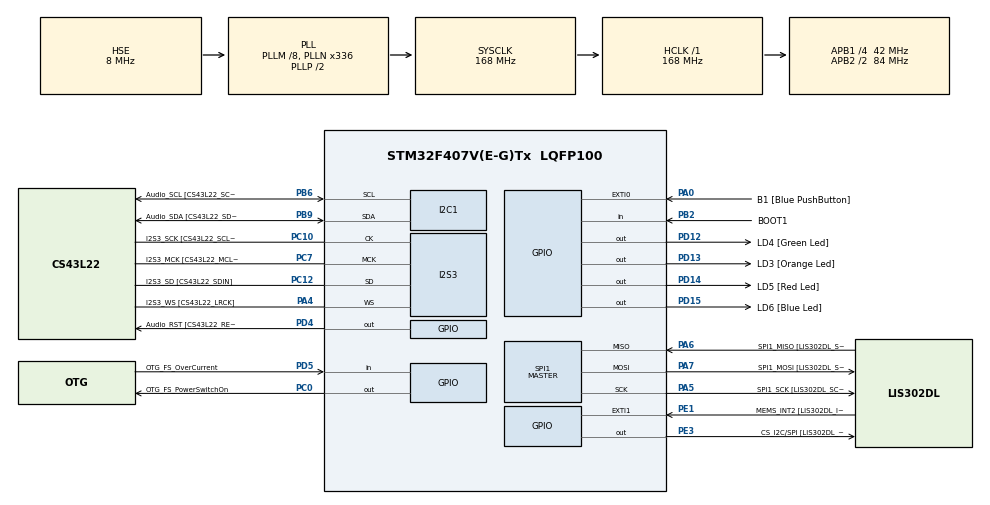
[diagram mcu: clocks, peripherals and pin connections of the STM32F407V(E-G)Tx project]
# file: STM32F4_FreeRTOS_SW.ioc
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FREERTOS.Tasks01=defaultTask,24,256,StartDefaultTask,Default,NULL,Dynamic,NULL,NULL;myGreenTask,24,256,StartGreenTask,Default,NULL,Dynamic,NULL,NULL;myBlueTask,24,256,StartBlueTask,Default,NULL,Dynamic,NULL,NULL
FREERTOS.configMINIMAL_STACK_SIZE=256
I2S3.AudioFreq-Half_Duplex_Master=I2S_AUDIOFREQ_96K
I2S3.ErrorAudioFreq=-2.34 %
I2S3.ErrorAudioFreq-Half_Duplex_Master=0.8 %
I2S3.FullDuplexMode=I2S_FULLDUPLEXMODE_DISABLE
I2S3.Instance=SPI$Index
I2S3.RealAudioFreq=93.75 KHz
I2S3.RealAudioFreq-Half_Duplex_Master=96.774 KHz
I2S3.VirtualMode=I2S_MODE_MASTER
Mcu.Family=STM32F4
Mcu.Name=STM32F407V(E-G)Tx
Mcu.Package=LQFP100
NVIC.PriorityGroup=NVIC_PRIORITYGROUP_4
NVIC.TIM5_IRQn=true\:5\:0\:false\:false\:true\:true\:true\:true\:true
NVIC.TIM6_DAC_IRQn=true\:15\:0\:false\:false\:true\:false\:false\:true\:true
NVIC.TimeBase=TIM6_DAC_IRQn
NVIC.TimeBaseIP=TIM6
PA0-WKUP.GPIO_Label=B1 [Blue PushButton]
PA0-WKUP.GPIO_ModeDefaultEXTI=GPIO_MODE_EVT_RISING
PA0-WKUP.GPIO_PuPd=GPIO_NOPULL
PA0-WKUP.Signal=GPXTI0
PA10.GPIO_Label=OTG_FS_ID
PA10.GPIO_Mode=GPIO_MODE_AF_PP
PA10.GPIO_PuPd=GPIO_NOPULL
PA10.GPIO_Speed=GPIO_SPEED_FREQ_LOW
PA10.Signal=USB_OTG_FS_ID
PA11.GPIO_Label=OTG_FS_DM
PA11.GPIO_Mode=GPIO_MODE_AF_PP
PA11.GPIO_PuPd=GPIO_NOPULL
PA11.GPIO_Speed=GPIO_SPEED_FREQ_LOW
PA11.Signal=USB_OTG_FS_DM
PA12.GPIO_Label=OTG_FS_DP
PA12.GPIO_Mode=GPIO_MODE_AF_PP
PA12.GPIO_PuPd=GPIO_NOPULL
PA12.GPIO_Speed=GPIO_SPEED_FREQ_LOW
PA12.Signal=USB_OTG_FS_DP
PA13.GPIO_Label=SWDIO
PA13.Mode=Serial_Wire
PA13.Signal=SYS_JTMS-SWDIO
PA14.GPIO_Label=SWCLK
PA14.Mode=Serial_Wire
PA14.Signal=SYS_JTCK-SWCLK
PA4.GPIO_Label=I2S3_WS [CS43L22_LRCK]
PA4.GPIO_Mode=GPIO_MODE_AF_PP
PA4.GPIO_PuPd=GPIO_NOPULL
PA4.GPIO_Speed=GPIO_SPEED_FREQ_LOW
PA4.Mode=Half_Duplex_Master
PA4.Signal=I2S3_WS
PA5.GPIO_Label=SPI1_SCK [LIS302DL_SCL/SPC]
PA5.GPIO_Mode=GPIO_MODE_AF_PP
PA5.GPIO_PuPd=GPIO_NOPULL
PA5.GPIO_Speed=GPIO_SPEED_FREQ_LOW
PA5.Mode=Full_Duplex_Master
PA5.Signal=SPI1_SCK
PA6.GPIO_Label=SPI1_MISO [LIS302DL_SDO]
PA6.GPIO_Mode=GPIO_MODE_AF_PP
PA6.GPIO_PuPd=GPIO_NOPULL
PA6.GPIO_Speed=GPIO_SPEED_FREQ_LOW
PA6.Mode=Full_Duplex_Master
PA6.Signal=SPI1_MISO
PA7.GPIO_Label=SPI1_MOSI [LIS302DL_SDA/SDI/SDO]
PA7.GPIO_Mode=GPIO_MODE_AF_PP
PA7.GPIO_PuPd=GPIO_NOPULL
PA7.GPIO_Speed=GPIO_SPEED_FREQ_LOW
PA7.Mode=Full_Duplex_Master
PA7.Signal=SPI1_MOSI
PA9.GPIO_Label=VBUS_FS
PA9.GPIO_Mode=GPIO_MODE_INPUT
PA9.GPIO_PuPd=GPIO_NOPULL
PA9.Signal=USB_OTG_FS_VBUS
PB10.GPIO_Label=CLK_IN [MP45DT02_CLK]
PB10.GPIO_Mode=GPIO_MODE_AF_PP
PB10.GPIO_PuPd=GPIO_NOPULL
PB10.GPIO_Speed=GPIO_SPEED_FREQ_LOW
PB10.Signal=I2S2_CK
PB2.GPIO_Label=BOOT1
PB2.GPIO_Mode=GPIO_MODE_INPUT
PB2.GPIO_PuPd=GPIO_NOPULL
PB2.Signal=GPIO_Input
PB3.GPIO_Label=SWO
PB3.Signal=SYS_JTDO-SWO
PB6.GPIO_Label=Audio_SCL [CS43L22_SCL]
PB6.GPIO_Mode=GPIO_MODE_AF_OD
PB6.GPIO_Pu=GPIO_PULLUP
PB6.GPIO_PuPd=GPIO_NOPULL
PB6.GPIO_Speed=GPIO_SPEED_FREQ_LOW
PB6.Mode=I2C
PB6.Signal=I2C1_SCL
PB9.GPIO_Label=Audio_SDA [CS43L22_SDA]
PB9.GPIO_Mode=GPIO_MODE_AF_OD
PB9.GPIO_Pu=GPIO_PULLUP
PB9.GPIO_PuPd=GPIO_NOPULL
PB9.GPIO_Speed=GPIO_SPEED_FREQ_LOW
PB9.Mode=I2C
PB9.Signal=I2C1_SDA
PC0.GPIO_Label=OTG_FS_PowerSwitchOn
PC0.GPIO_PuPd=GPIO_NOPULL
PC0.GPIO_Speed=GPIO_SPEED_FREQ_LOW
PC0.PinState=GPIO_PIN_SET
PC0.Signal=GPIO_Output
PC10.GPIO_Label=I2S3_SCK [CS43L22_SCLK]
PC10.GPIO_Mode=GPIO_MODE_AF_PP
PC10.GPIO_PuPd=GPIO_NOPULL
PC10.GPIO_Speed=GPIO_SPEED_FREQ_LOW
PC10.Mode=Half_Duplex_Master
PC10.Signal=I2S3_CK
PC12.GPIO_Label=I2S3_SD [CS43L22_SDIN]
PC12.GPIO_Mode=GPIO_MODE_AF_PP
PC12.GPIO_PuPd=GPIO_NOPULL
PC12.GPIO_Speed=GPIO_SPEED_FREQ_LOW
PC12.Mode=Half_Duplex_Master
PC12.Signal=I2S3_SD
PC14-OSC32_IN.GPIO_Label=PC14-OSC32_IN
PC14-OSC32_IN.Mode=LSE-External-Oscillator
PC14-OSC32_IN.Signal=RCC_OSC32_IN
PC15-OSC32_OUT.GPIO_Label=PC15-OSC32_OUT
PC15-OSC32_OUT.Mode=LSE-External-Oscillator
PC15-OSC32_OUT.Signal=RCC_OSC32_OUT
PC3.GPIO_Label=PDM_OUT [MP45DT02_DOUT]
PC3.GPIO_Mode=GPIO_MODE_AF_PP
PC3.GPIO_PuPd=GPIO_NOPULL
PC3.GPIO_Speed=GPIO_SPEED_FREQ_LOW
PC3.Signal=I2S2_SD
PC7.GPIO_Label=I2S3_MCK [CS43L22_MCLK]
PC7.GPIO_Mode=GPIO_MODE_AF_PP
PC7.GPIO_PuPd=GPIO_NOPULL
PC7.GPIO_Speed=GPIO_SPEED_FREQ_LOW
PC7.Mode=Master_Clock_Activated
PC7.Signal=I2S3_MCK
PD12.GPIO_Label=LD4 [Green Led]
PD12.GPIO_PuPd=GPIO_NOPULL
PD12.GPIO_Speed=GPIO_SPEED_FREQ_LOW
PD12.Signal=GPIO_Output
PD13.GPIO_Label=LD3 [Orange Led]
PD13.GPIO_PuPd=GPIO_NOPULL
PD13.GPIO_Speed=GPIO_SPEED_FREQ_LOW
PD13.Signal=GPIO_Output
PD14.GPIO_Label=LD5 [Red Led]
PD14.GPIO_PuPd=GPIO_NOPULL
PD14.GPIO_Speed=GPIO_SPEED_FREQ_LOW
PD14.Signal=GPIO_Output
PD15.GPIO_Label=LD6 [Blue Led]
PD15.GPIO_PuPd=GPIO_NOPULL
PD15.GPIO_Speed=GPIO_SPEED_FREQ_LOW
PD15.Signal=GPIO_Output
PD4.GPIO_Label=Audio_RST [CS43L22_RESET]
PD4.GPIO_PuPd=GPIO_NOPULL
PD4.GPIO_Speed=GPIO_SPEED_FREQ_LOW
PD4.Signal=GPIO_Output
PD5.GPIO_Label=OTG_FS_OverCurrent
PD5.GPIO_Mode=GPIO_MODE_INPUT
PD5.GPIO_PuPd=GPIO_NOPULL
PD5.Signal=GPIO_Input
PE1.GPIO_Label=MEMS_INT2 [LIS302DL_INT2]
PE1.GPIO_ModeDefaultEXTI=GPIO_MODE_EVT_RISING
PE1.GPIO_PuPd=GPIO_NOPULL
PE1.Signal=GPXTI1
PE3.GPIO_Label=CS_I2C/SPI [LIS302DL_CS_I2C/SPI]
PE3.GPIO_PuPd=GPIO_NOPULL
PE3.GPIO_Speed=GPIO_SPEED_FREQ_LOW
PE3.Signal=GPIO_Output
PH0-OSC_IN.GPIO_Label=PH0-OSC_IN
PH0-OSC_IN.Mode=HSE-External-Oscillator
PH0-OSC_IN.Signal=RCC_OSC_IN
PH1-OSC_OUT.GPIO_Label=PH1-OSC_OUT
PH1-OSC_OUT.Mode=HSE-External-Oscillator
PH1-OSC_OUT.Signal=RCC_OSC_OUT
ProjectManager.HeapSize=0x200
ProjectManager.StackSize=0x400
ProjectManager.TargetToolchain=STM32CubeIDE
RCC.48MHZClocksFreq_Value=48000000
RCC.AHBFreq_Value=168000000
RCC.APB1CLKDivider=RCC_HCLK_DIV4
RCC.APB1Freq_Value=42000000
RCC.APB1TimFreq_Value=84000000
RCC.APB2CLKDivider=RCC_HCLK_DIV2
RCC.APB2Freq_Value=84000000
RCC.APB2TimFreq_Value=168000000
RCC.CortexFreq_Value=168000000
RCC.HCLKFreq_Value=168000000
RCC.HSE_VALUE=8000000
RCC.HSI_VALUE=16000000
RCC.PLLM=8
RCC.PLLN=336
RCC.PLLQ=7
RCC.PLLSourceVirtual=RCC_PLLSOURCE_HSE
RCC.SYSCLKFreq_VALUE=168000000
RCC.SYSCLKSource=RCC_SYSCLKSOURCE_PLLCLK
RCC.VCOOutputFreq_Value=336000000
SPI1.BaudRatePrescaler-Full_Duplex_Master=SPI_BAUDRATEPRESCALER_2
SPI1.CalculateBaudRate-Full_Duplex_Master=42.0 MBits/s
SPI1.Direction=SPI_DIRECTION_2LINES
SPI1.Mode=SPI_MODE_MASTER
SPI1.Mode-Full_Duplex_Master=SPI_MODE_MASTER
SPI1.VirtualType=VM_MASTER
TIM5.AutoReloadPreload=TIM_AUTORELOAD_PRELOAD_ENABLE
TIM5.Period=9999
TIM5.Prescaler=8399
VP_FREERTOS_VS_CMSIS_V2.Mode=CMSIS_V2
VP_SYS_VS_tim6.Mode=TIM6
VP_TIM5_VS_ClockSourceINT.Mode=Internal
board=STM32F407G-DISC1

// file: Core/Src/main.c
/* USER CODE BEGIN Header */
/**
  ******************************************************************************
  * @file           : main.c
  * @brief          : Main program body
  ******************************************************************************
  * @attention
  *
  * Copyright (c) 2025 STMicroelectronics.
  * All rights reserved.
  *
  * This software is licensed under terms that can be found in the LICENSE file
  * in the root directory of this software component.
  * If no LICENSE file comes with this software, it is provided AS-IS.
  *
  ******************************************************************************
  */
/* USER CODE END Header */
#include "main.h"
#include "cmsis_os.h"

/* USER CODE BEGIN Includes */
#include <SEGGER_SYSVIEW.h>

/* USER CODE END Includes */

I2C_HandleTypeDef hi2c1;

I2S_HandleTypeDef hi2s3;

SPI_HandleTypeDef hspi1;

TIM_HandleTypeDef htim5;

/* Definitions for defaultTask */
osThreadId_t defaultTaskHandle;
const osThreadAttr_t defaultTask_attributes = {
  .name = "defaultTask",
  .stack_size = 256 * 4,
  .priority = (osPriority_t) osPriorityNormal,
};
/* Definitions for myGreenTask */
osThreadId_t myGreenTaskHandle;
const osThreadAttr_t myGreenTask_attributes = {
  .name = "myGreenTask",
  .stack_size = 256 * 4,
  .priority = (osPriority_t) osPriorityNormal,
};
/* Definitions for myBlueTask */
osThreadId_t myBlueTaskHandle;
const osThreadAttr_t myBlueTask_attributes = {
  .name = "myBlueTask",
  .stack_size = 256 * 4,
  .priority = (osPriority_t) osPriorityNormal,
};

void SystemClock_Config(void);
static void MX_GPIO_Init(void);
static void MX_I2C1_Init(void);
static void MX_I2S3_Init(void);
static void MX_SPI1_Init(void);
static void MX_TIM5_Init(void);
void StartDefaultTask(void *argument);
void StartGreenTask(void *argument);
void StartBlueTask(void *argument);

int main(void)
{

  /* MCU Configuration--------------------------------------------------------*/

  /* Reset of all peripherals, Initializes the Flash interface and the Systick. */
  HAL_Init();

  /* Configure the system clock */
  SystemClock_Config();

  /* Initialize all configured peripherals */
  MX_GPIO_Init();
  MX_I2C1_Init();
  MX_I2S3_Init();
  MX_SPI1_Init();
  MX_TIM5_Init();
  /* USER CODE BEGIN 2 */
  HAL_TIM_Base_Start_IT(&htim5);

  /* USER CODE END 2 */

  /* Init scheduler */
  osKernelInitialize();

  /* Create the thread(s) */
  /* creation of defaultTask */
  defaultTaskHandle = osThreadNew(StartDefaultTask, NULL, &defaultTask_attributes);

  /* creation of myGreenTask */
  myGreenTaskHandle = osThreadNew(StartGreenTask, NULL, &myGreenTask_attributes);

  /* creation of myBlueTask */
  myBlueTaskHandle = osThreadNew(StartBlueTask, NULL, &myBlueTask_attributes);

  /* USER CODE BEGIN RTOS_EVENTS */
  /* add events, ... */
  SEGGER_SYSVIEW_Conf();
  /* USER CODE END RTOS_EVENTS */

  /* Start scheduler */
  osKernelStart();

  /* We should never get here as control is now taken by the scheduler */

  /* Infinite loop */
  while (1)
  {

  }
}

void SystemClock_Config(void)
{
  RCC_OscInitTypeDef RCC_OscInitStruct = {0};
  RCC_ClkInitTypeDef RCC_ClkInitStruct = {0};

  /** Configure the main internal regulator output voltage
  */
  __HAL_RCC_PWR_CLK_ENABLE();
  __HAL_PWR_VOLTAGESCALING_CONFIG(PWR_REGULATOR_VOLTAGE_SCALE1);

  /** Initializes the RCC Oscillators according to the specified parameters
  * in the RCC_OscInitTypeDef structure.
  */
  RCC_OscInitStruct.OscillatorType = RCC_OSCILLATORTYPE_HSE;
  RCC_OscInitStruct.HSEState = RCC_HSE_ON;
  RCC_OscInitStruct.PLL.PLLState = RCC_PLL_ON;
  RCC_OscInitStruct.PLL.PLLSource = RCC_PLLSOURCE_HSE;
  RCC_OscInitStruct.PLL.PLLM = 8;
  RCC_OscInitStruct.PLL.PLLN = 336;
  RCC_OscInitStruct.PLL.PLLP = RCC_PLLP_DIV2;
  RCC_OscInitStruct.PLL.PLLQ = 7;
  if (HAL_RCC_OscConfig(&RCC_OscInitStruct) != HAL_OK)
  {
    Error_Handler();
  }

  /** Initializes the CPU, AHB and APB buses clocks
  */
  RCC_ClkInitStruct.ClockType = RCC_CLOCKTYPE_HCLK|RCC_CLOCKTYPE_SYSCLK
                              |RCC_CLOCKTYPE_PCLK1|RCC_CLOCKTYPE_PCLK2;
  RCC_ClkInitStruct.SYSCLKSource = RCC_SYSCLKSOURCE_PLLCLK;
  RCC_ClkInitStruct.AHBCLKDivider = RCC_SYSCLK_DIV1;
  RCC_ClkInitStruct.APB1CLKDivider = RCC_HCLK_DIV4;
  RCC_ClkInitStruct.APB2CLKDivider = RCC_HCLK_DIV2;

  if (HAL_RCC_ClockConfig(&RCC_ClkInitStruct, FLASH_LATENCY_5) != HAL_OK)
  {
    Error_Handler();
  }
}

static void MX_I2C1_Init(void)
{

  hi2c1.Instance = I2C1;
  hi2c1.Init.ClockSpeed = 100000;
  hi2c1.Init.DutyCycle = I2C_DUTYCYCLE_2;
  hi2c1.Init.OwnAddress1 = 0;
  hi2c1.Init.AddressingMode = I2C_ADDRESSINGMODE_7BIT;
  hi2c1.Init.DualAddressMode = I2C_DUALADDRESS_DISABLE;
  hi2c1.Init.OwnAddress2 = 0;
  hi2c1.Init.GeneralCallMode = I2C_GENERALCALL_DISABLE;
  hi2c1.Init.NoStretchMode = I2C_NOSTRETCH_DISABLE;
  if (HAL_I2C_Init(&hi2c1) != HAL_OK)
  {
    Error_Handler();
  }

}

static void MX_I2S3_Init(void)
{

  hi2s3.Instance = SPI3;
  hi2s3.Init.Mode = I2S_MODE_MASTER_TX;
  hi2s3.Init.Standard = I2S_STANDARD_PHILIPS;
  hi2s3.Init.DataFormat = I2S_DATAFORMAT_16B;
  hi2s3.Init.MCLKOutput = I2S_MCLKOUTPUT_ENABLE;
  hi2s3.Init.AudioFreq = I2S_AUDIOFREQ_96K;
  hi2s3.Init.CPOL = I2S_CPOL_LOW;
  hi2s3.Init.ClockSource = I2S_CLOCK_PLL;
  hi2s3.Init.FullDuplexMode = I2S_FULLDUPLEXMODE_DISABLE;
  if (HAL_I2S_Init(&hi2s3) != HAL_OK)
  {
    Error_Handler();
  }

}

static void MX_SPI1_Init(void)
{

  /* SPI1 parameter configuration*/
  hspi1.Instance = SPI1;
  hspi1.Init.Mode = SPI_MODE_MASTER;
  hspi1.Init.Direction = SPI_DIRECTION_2LINES;
  hspi1.Init.DataSize = SPI_DATASIZE_8BIT;
  hspi1.Init.CLKPolarity = SPI_POLARITY_LOW;
  hspi1.Init.CLKPhase = SPI_PHASE_1EDGE;
  hspi1.Init.NSS = SPI_NSS_SOFT;
  hspi1.Init.BaudRatePrescaler = SPI_BAUDRATEPRESCALER_2;
  hspi1.Init.FirstBit = SPI_FIRSTBIT_MSB;
  hspi1.Init.TIMode = SPI_TIMODE_DISABLE;
  hspi1.Init.CRCCalculation = SPI_CRCCALCULATION_DISABLE;
  hspi1.Init.CRCPolynomial = 10;
  if (HAL_SPI_Init(&hspi1) != HAL_OK)
  {
    Error_Handler();
  }

}

static void MX_TIM5_Init(void)
{

  TIM_ClockConfigTypeDef sClockSourceConfig = {0};
  TIM_MasterConfigTypeDef sMasterConfig = {0};

  htim5.Instance = TIM5;
  htim5.Init.Prescaler = 8399;
  htim5.Init.CounterMode = TIM_COUNTERMODE_UP;
  htim5.Init.Period = 9999;
  htim5.Init.ClockDivision = TIM_CLOCKDIVISION_DIV1;
  htim5.Init.AutoReloadPreload = TIM_AUTORELOAD_PRELOAD_ENABLE;
  if (HAL_TIM_Base_Init(&htim5) != HAL_OK)
  {
    Error_Handler();
  }
  sClockSourceConfig.ClockSource = TIM_CLOCKSOURCE_INTERNAL;
  if (HAL_TIM_ConfigClockSource(&htim5, &sClockSourceConfig) != HAL_OK)
  {
    Error_Handler();
  }
  sMasterConfig.MasterOutputTrigger = TIM_TRGO_RESET;
  sMasterConfig.MasterSlaveMode = TIM_MASTERSLAVEMODE_DISABLE;
  if (HAL_TIMEx_MasterConfigSynchronization(&htim5, &sMasterConfig) != HAL_OK)
  {
    Error_Handler();
  }

}

static void MX_GPIO_Init(void)
{
  GPIO_InitTypeDef GPIO_InitStruct = {0};

  /* GPIO Ports Clock Enable */
  __HAL_RCC_GPIOE_CLK_ENABLE();
  __HAL_RCC_GPIOC_CLK_ENABLE();
  __HAL_RCC_GPIOH_CLK_ENABLE();
  __HAL_RCC_GPIOA_CLK_ENABLE();
  __HAL_RCC_GPIOB_CLK_ENABLE();
  __HAL_RCC_GPIOD_CLK_ENABLE();

  /*Configure GPIO pin Output Level */
  HAL_GPIO_WritePin(CS_I2C_SPI_GPIO_Port, CS_I2C_SPI_Pin, GPIO_PIN_RESET);

  /*Configure GPIO pin Output Level */
  HAL_GPIO_WritePin(OTG_FS_PowerSwitchOn_GPIO_Port, OTG_FS_PowerSwitchOn_Pin, GPIO_PIN_SET);

  /*Configure GPIO pin Output Level */
  HAL_GPIO_WritePin(GPIOD, LD4_Pin|LD3_Pin|LD5_Pin|LD6_Pin
                          |Audio_RST_Pin, GPIO_PIN_RESET);

  /*Configure GPIO pin : CS_I2C_SPI_Pin */
  GPIO_InitStruct.Pin = CS_I2C_SPI_Pin;
  GPIO_InitStruct.Mode = GPIO_MODE_OUTPUT_PP;
  GPIO_InitStruct.Pull = GPIO_NOPULL;
  GPIO_InitStruct.Speed = GPIO_SPEED_FREQ_LOW;
  HAL_GPIO_Init(CS_I2C_SPI_GPIO_Port, &GPIO_InitStruct);

  /*Configure GPIO pin : OTG_FS_PowerSwitchOn_Pin */
  GPIO_InitStruct.Pin = OTG_FS_PowerSwitchOn_Pin;
  GPIO_InitStruct.Mode = GPIO_MODE_OUTPUT_PP;
  GPIO_InitStruct.Pull = GPIO_NOPULL;
  GPIO_InitStruct.Speed = GPIO_SPEED_FREQ_LOW;
  HAL_GPIO_Init(OTG_FS_PowerSwitchOn_GPIO_Port, &GPIO_InitStruct);

  /*Configure GPIO pin : PDM_OUT_Pin */
  GPIO_InitStruct.Pin = PDM_OUT_Pin;
  GPIO_InitStruct.Mode = GPIO_MODE_AF_PP;
  GPIO_InitStruct.Pull = GPIO_NOPULL;
  GPIO_InitStruct.Speed = GPIO_SPEED_FREQ_LOW;
  GPIO_InitStruct.Alternate = GPIO_AF5_SPI2;
  HAL_GPIO_Init(PDM_OUT_GPIO_Port, &GPIO_InitStruct);

  /*Configure GPIO pin : B1_Pin */
  GPIO_InitStruct.Pin = B1_Pin;
  GPIO_InitStruct.Mode = GPIO_MODE_EVT_RISING;
  GPIO_InitStruct.Pull = GPIO_NOPULL;
  HAL_GPIO_Init(B1_GPIO_Port, &GPIO_InitStruct);

  /*Configure GPIO pin : BOOT1_Pin */
  GPIO_InitStruct.Pin = BOOT1_Pin;
  GPIO_InitStruct.Mode = GPIO_MODE_INPUT;
  GPIO_InitStruct.Pull = GPIO_NOPULL;
  HAL_GPIO_Init(BOOT1_GPIO_Port, &GPIO_InitStruct);

  /*Configure GPIO pin : CLK_IN_Pin */
  GPIO_InitStruct.Pin = CLK_IN_Pin;
  GPIO_InitStruct.Mode = GPIO_MODE_AF_PP;
  GPIO_InitStruct.Pull = GPIO_NOPULL;
  GPIO_InitStruct.Speed = GPIO_SPEED_FREQ_LOW;
  GPIO_InitStruct.Alternate = GPIO_AF5_SPI2;
  HAL_GPIO_Init(CLK_IN_GPIO_Port, &GPIO_InitStruct);

  /*Configure GPIO pins : LD4_Pin LD3_Pin LD5_Pin LD6_Pin
                           Audio_RST_Pin */
  GPIO_InitStruct.Pin = LD4_Pin|LD3_Pin|LD5_Pin|LD6_Pin
                          |Audio_RST_Pin;
  GPIO_InitStruct.Mode = GPIO_MODE_OUTPUT_PP;
  GPIO_InitStruct.Pull = GPIO_NOPULL;
  GPIO_InitStruct.Speed = GPIO_SPEED_FREQ_LOW;
  HAL_GPIO_Init(GPIOD, &GPIO_InitStruct);

  /*Configure GPIO pin : VBUS_FS_Pin */
  GPIO_InitStruct.Pin = VBUS_FS_Pin;
  GPIO_InitStruct.Mode = GPIO_MODE_INPUT;
  GPIO_InitStruct.Pull = GPIO_NOPULL;
  HAL_GPIO_Init(VBUS_FS_GPIO_Port, &GPIO_InitStruct);

  /*Configure GPIO pins : OTG_FS_ID_Pin OTG_FS_DM_Pin OTG_FS_DP_Pin */
  GPIO_InitStruct.Pin = OTG_FS_ID_Pin|OTG_FS_DM_Pin|OTG_FS_DP_Pin;
  GPIO_InitStruct.Mode = GPIO_MODE_AF_PP;
  GPIO_InitStruct.Pull = GPIO_NOPULL;
  GPIO_InitStruct.Speed = GPIO_SPEED_FREQ_LOW;
  GPIO_InitStruct.Alternate = GPIO_AF10_OTG_FS;
  HAL_GPIO_Init(GPIOA, &GPIO_InitStruct);

  /*Configure GPIO pin : OTG_FS_OverCurrent_Pin */
  GPIO_InitStruct.Pin = OTG_FS_OverCurrent_Pin;
  GPIO_InitStruct.Mode = GPIO_MODE_INPUT;
  GPIO_InitStruct.Pull = GPIO_NOPULL;
  HAL_GPIO_Init(OTG_FS_OverCurrent_GPIO_Port, &GPIO_InitStruct);

  /*Configure GPIO pin : MEMS_INT2_Pin */
  GPIO_InitStruct.Pin = MEMS_INT2_Pin;
  GPIO_InitStruct.Mode = GPIO_MODE_EVT_RISING;
  GPIO_InitStruct.Pull = GPIO_NOPULL;
  HAL_GPIO_Init(MEMS_INT2_GPIO_Port, &GPIO_InitStruct);

}

void StartDefaultTask(void *argument)
{
  /* USER CODE BEGIN 5 */
  /* Infinite loop */
  for(;;)
  {
    osDelay(1000);
  }
  /* USER CODE END 5 */
}

void StartGreenTask(void *argument)
{
  /* USER CODE BEGIN StartGreenTask */
	uint32_t tcount = 0;
  /* Infinite loop */
  for(;;)
  {
	  tcount++;
	  SEGGER_SYSVIEW_PrintfHost("GreenTask is running: %d \n" ,tcount);

	  HAL_GPIO_TogglePin(LD4_GPIO_Port, LD4_Pin);
	  osDelay(10);
  }
  /* USER CODE END StartGreenTask */
}

void StartBlueTask(void *argument)
{
  /* USER CODE BEGIN StartBlueTask */
  /* Infinite loop */
  for(;;)
  {
	  //dummy delay
	  for(uint32_t i=0; i<35000; i++)
		  ;

	  HAL_GPIO_TogglePin(LD6_GPIO_Port, LD6_Pin);
	  osDelay(100);
  }
  /* USER CODE END StartBlueTask */
}

void HAL_TIM_PeriodElapsedCallback(TIM_HandleTypeDef *htim)
{
  /* USER CODE BEGIN Callback 0 */
	uint32_t dummy = 0;
	if (htim->Instance == TIM5){
		SEGGER_SYSVIEW_RecordEnterISR();
		dummy++;
		SEGGER_SYSVIEW_RecordExitISR();
	}

  /* USER CODE END Callback 0 */
  if (htim->Instance == TIM6) {
    HAL_IncTick();
  }
}

void Error_Handler(void)
{
  __disable_irq();
  while (1)
  {
  }
}
